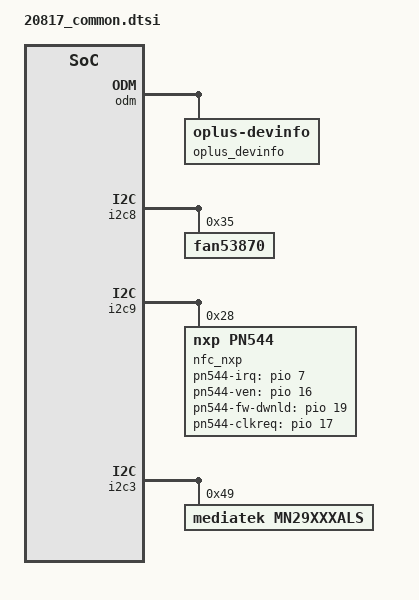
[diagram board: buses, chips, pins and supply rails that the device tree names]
&odm {
	oplus_devinfo:oplus_devinfo {
	compatible = "oplus-devinfo";
	pinctrl-names = "default", "aboard_gpio0_sleep", "aboard_gpio0_active", "aboard_gpio0_idle";
	pinctrl-0 = <&hw_pins_default>;
	pinctrl-1 = <&aboard_pin_gpio0_sleep>;
	pinctrl-2 = <&aboard_pin_gpio0_active>;
	pinctrl-3 = <&aboard_pin_gpio0_idle>;

	main-sub {
		use_tristate_gpio;
		tristate_gpio_num = <2>;
		compatible = "hw-match, main-sub";
		aboard-gpio0 = <&pio 112 0x00>;
		aboard-patterns = <0 1 2>;
		/*main board*/

		match-projects = <20817 20827 20831>;
	};
	};

	mtk_nanohub_info:mtk_nanohub_info@0 {
		compatible = "mediatek,mtk_nanohub_info";
		vdd-supply = <&mt_pmic_vibr_ldo_reg>;
	};
};

&pio {
	hw_pins_default:default@hw_sub_id {
	};

	aboard_pin_gpio0_sleep:sleep@id0 {
		pins_cmd_dat {
			pinmux = <PINMUX_GPIO112__FUNC_GPIO112>;
			slew-rate = <0>;
			bias-pull-down;
			input-enable;
		};
	};

	aboard_pin_gpio0_active:active@id0 {
		pins_cmd_dat {
			pinmux = <PINMUX_GPIO112__FUNC_GPIO112>;
			slew-rate = <0>;
			bias-pull-up;
			input-enable;
		};
	};

	aboard_pin_gpio0_idle:idle@id0 {
		pins_cmd_dat {
			pinmux = <PINMUX_GPIO112__FUNC_GPIO112>;
			slew-rate = <0>;
			bias-disable;
			input-enable;
		};
	};

};
//#ifdef OPLUS_FEATURE_CHG_BASIC
&lk_charger{
	charger_by_buckboost;
	support_tuv_authentication;
};
//#endif

/*#ifdef VENDOE_EDIT*/
&i2c8 {
	   fan53870: fan53870@35 {
               compatible = "fan53870";
               reg = <0x35>;
               ldo1_min_vol = <800000>;  /*uV*/
               ldo1_max_vol = <1504000>;
               ldo1_step_vol = <8000>;
       };
};
/*#endif*/


&i2c9 {
       status = "okay";
       nfc_nxp@28 {
               compatible = "nxp,pn544";
               reg = <0x28>;
               nxp,pn544-irq = <&pio 7 0x0>;
               nxp,pn544-ven = <&pio 16 0x0>;
               nxp,pn544-fw-dwnld = <&pio 19 0x0>;
               nxp,pn544-clkreq = <&pio 17 0x0>;
               interrupt-parent = <&pio>;
       };
};
//#endif /* OPLUS_FEATURE_NFC_BRINGUP */

&disp_leds {
	backlight {
		max-brightness = <10239>;
		led-bits = <13>;
	};
};

&pwm_leds {
	backlight {
		max-brightness = <10239>;
		led-bits = <13>;
		trans-bits = <12>;
		default-state = "on";
	};
};

&swtp{
	compatible = "mediatek, swtp-eint";
	debounce = <512000>;
};

/*#ifdef VENDOE_EDIT*/
&i2c3 {
	   mn29xxxals: mn29xxxals@49 {
               compatible = "mediatek,mn29xxxals";
               reg = <0x49>;
       };
};
/*#endif*/
